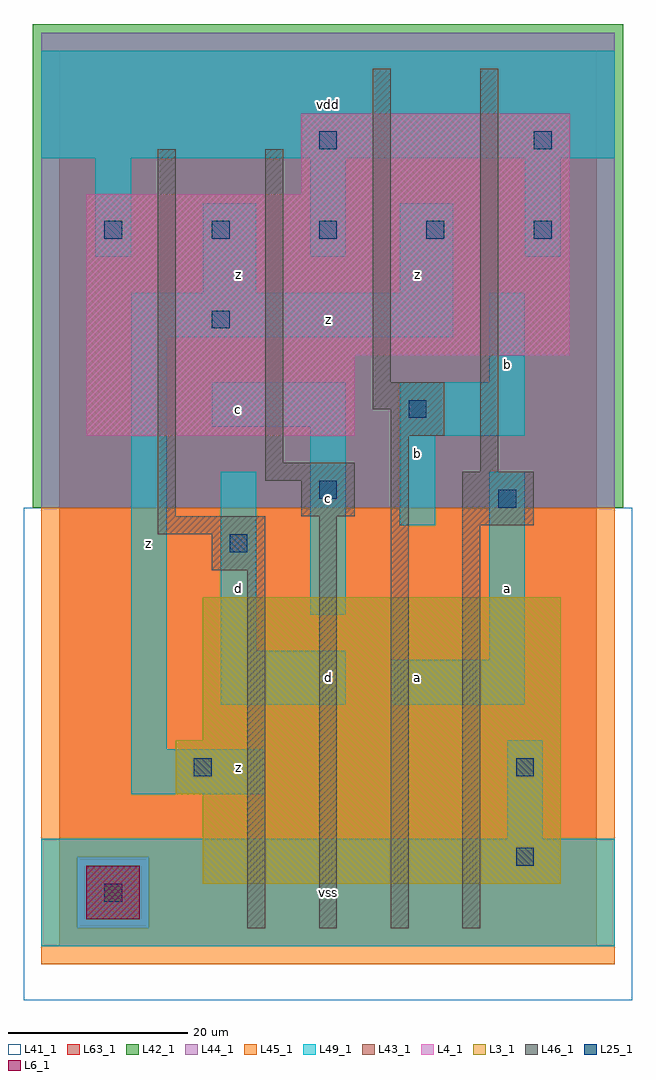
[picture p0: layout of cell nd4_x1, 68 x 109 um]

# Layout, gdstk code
import gdstk
lib = gdstk.Library(unit=1e-6, precision=1e-09)
def R(c, l, rs):  # rectangles x0, y0, x1, y1
    for r in rs: c.add(gdstk.rectangle(r[:2], r[2:], *l))
def A(c, l, x, y, w, h, nx, ny, dx, dy):  # array of equal rectangles
    R(c, l, [(x+i*dx, y+j*dy, x+i*dx+w, y+j*dy+h) for i in range(nx) for j in range(ny)])
L3_1 = (3, 1)
L4_1 = (4, 1)
L6_1 = (6, 1)
L25_1 = (25, 1)
L41_1 = (41, 1)
L42_1 = (42, 1)
L43_1 = (43, 1)
L44_1 = (44, 1)
L45_1 = (45, 1)
L46_1 = (46, 1)
L49_1 = (49, 1)
L63_1 = (63, 1)

nd4_x1 = lib.new_cell('nd4_x1')
R(nd4_x1, L3_1, [(16,7,56,17), (13,17,56,23), (16,23,56,39)])
R(nd4_x1, L4_1, [(3,57,33,66), (3,66,57,84), (27,84,57,93)])
R(nd4_x1, L6_1, [(3,3,9,9)])
A(nd4_x1, L25_1, 5, 79, 2, 2, 5, 1, 12, 0)
R(nd4_x1, L25_1, [(5,5,7,7), (51,9,53,11), (15,19,17,21), (51,19,53,21), (19,44,21,46), (49,49,51,51), (29,50,31,52), (39,59,41,61), (17,69,19,71), (29,89,31,91), (53,89,55,91)])
R(nd4_x1, L41_1, [(-4,-6,64,49), (-3,-3,63,49)])
R(nd4_x1, L42_1, [(-3,49,63,103)])
R(nd4_x1, L43_1, [(3,3,9,9), (16,7,56,17), (13,17,56,23), (16,23,56,39), (3,57,33,66), (3,66,57,84), (27,84,57,93)])
R(nd4_x1, L44_1, [(2,2,10,10), (-2,49,62,102)])
R(nd4_x1, L45_1, [(-2,-2,62,2), (-2,2,2,10), (10,2,62,10), (-2,10,62,49)])
R(nd4_x1, L46_1, [(21,2,23,42), (29,2,31,48), (37,2,39,57), (45,2,47,47), (17,42,23,46), (11,46,23,48), (45,47,53,53), (11,48,13,89), (27,48,33,52), (23,52,33,54), (47,53,49,98), (23,54,25,89), (37,57,43,60), (35,60,43,63), (35,63,37,98)])
A(nd4_x1, L49_1, 4, 77, 4, 11, 3, 1, 24, 0)
R(nd4_x1, L49_1, [(-2,0,62,12), (50,12,54,23), (8,17,23,22), (8,22,12,68), (18,27,32,33), (37,27,52,32), (48,32,52,53), (18,33,22,53), (28,37,32,58), (38,47,42,57), (38,57,52,63), (17,58,32,63), (48,63,52,73), (8,68,44,73), (16,73,22,83), (38,73,44,83), (-2,88,62,100)])
R(nd4_x1, L63_1, [(0,0,60,100)])
nd4_x1.add(gdstk.Label('z', (20,20), layer=49, texttype=1))
nd4_x1.add(gdstk.Label('z', (20,20), layer=49, texttype=1))
nd4_x1.add(gdstk.Label('d', (20,40), layer=49, texttype=1))
nd4_x1.add(gdstk.Label('d', (20,40), layer=49, texttype=1))
nd4_x1.add(gdstk.Label('z', (10,45), layer=49, texttype=1))
nd4_x1.add(gdstk.Label('z', (10,45), layer=49, texttype=1))
nd4_x1.add(gdstk.Label('c', (20,60), layer=49, texttype=1))
nd4_x1.add(gdstk.Label('c', (20,60), layer=49, texttype=1))
nd4_x1.add(gdstk.Label('z', (20,75), layer=49, texttype=1))
nd4_x1.add(gdstk.Label('z', (20,75), layer=49, texttype=1))
nd4_x1.add(gdstk.Label('vss', (30,6), layer=49, texttype=1))
nd4_x1.add(gdstk.Label('vss', (30,6), layer=49, texttype=1))
nd4_x1.add(gdstk.Label('d', (30,30), layer=49, texttype=1))
nd4_x1.add(gdstk.Label('d', (30,30), layer=49, texttype=1))
nd4_x1.add(gdstk.Label('c', (30,50), layer=49, texttype=1))
nd4_x1.add(gdstk.Label('c', (30,50), layer=49, texttype=1))
nd4_x1.add(gdstk.Label('z', (30,70), layer=49, texttype=1))
nd4_x1.add(gdstk.Label('z', (30,70), layer=49, texttype=1))
nd4_x1.add(gdstk.Label('vdd', (30,94), layer=49, texttype=1))
nd4_x1.add(gdstk.Label('vdd', (30,94), layer=49, texttype=1))
nd4_x1.add(gdstk.Label('a', (40,30), layer=49, texttype=1))
nd4_x1.add(gdstk.Label('a', (40,30), layer=49, texttype=1))
nd4_x1.add(gdstk.Label('b', (40,55), layer=49, texttype=1))
nd4_x1.add(gdstk.Label('b', (40,55), layer=49, texttype=1))
nd4_x1.add(gdstk.Label('z', (40,75), layer=49, texttype=1))
nd4_x1.add(gdstk.Label('z', (40,75), layer=49, texttype=1))
nd4_x1.add(gdstk.Label('a', (50,40), layer=49, texttype=1))
nd4_x1.add(gdstk.Label('a', (50,40), layer=49, texttype=1))
nd4_x1.add(gdstk.Label('b', (50,65), layer=49, texttype=1))
nd4_x1.add(gdstk.Label('b', (50,65), layer=49, texttype=1))

lib.write_gds('nd4_x1.gds')
